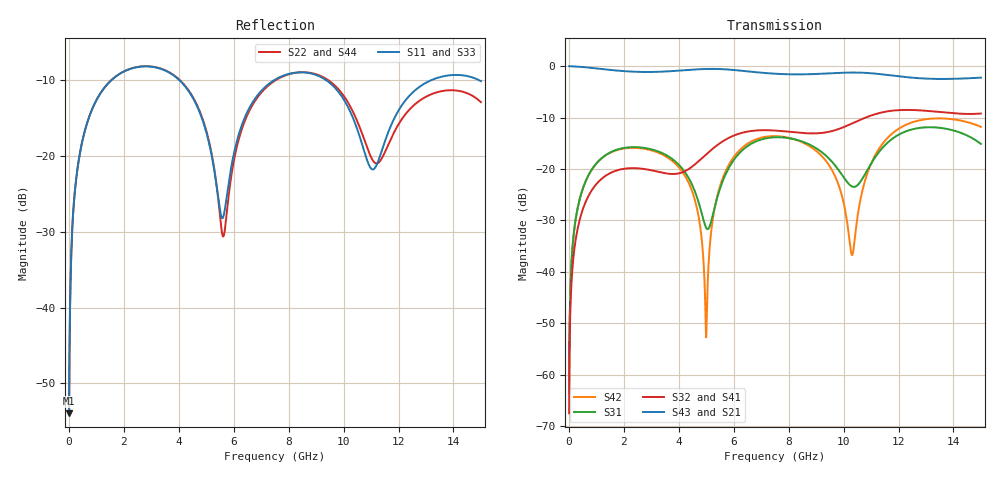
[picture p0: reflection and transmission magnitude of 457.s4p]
! Created with skrf 1.8.0 (http://scikit-rf.org).
# GHz S RI R 50.0
!freq ReS11 ImS11 ReS12 ImS12 ReS13 ImS13
! ReS14 ImS14
! ReS21 ImS21 ReS22 ImS22 ReS23 ImS23
! ReS24 ImS24
! ReS31 ImS31 ReS32 ImS32 ReS33 ImS33
! ReS34 ImS34
! ReS41 ImS41 ReS42 ImS42 ReS43 ImS43
! ReS44 ImS44
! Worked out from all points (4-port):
!   2499 points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, 5 MHz to 15 GHz, reference 50 ohm
!   strongest paths, dB at 5 MHz, 3.476 GHz, 7.19 GHz, 11.1 GHz, 15 GHz:
!     S43: 0.0, -1.1, -1.4, -1.4, -2.2
!     S21: 0.0, -1.1, -1.4, -1.4, -2.2
!     S32: -67.5, -20.8, -12.5, -9.4, -9.2
!     S41: -67.5, -20.9, -12.5, -9.4, -9.3
!     S31: -63.4, -17.1, -14.0, -18.1, -15.1
!     S42: -63.4, -17.4, -13.7, -17.9, -11.8
!   lowest |S11| = -53.9 dB at 5 MHz (marker M1), VSWR 1.00, Z = 50.2 + j0.122 ohm
!   |S11| at or under -10 dB: start of sweep to 1.541 GHz; 4.026 GHz to 7.466 GHz (3.44 GHz wide, 59.9 % of centre); 9.371 GHz to 13.18 GHz (3.814 GHz wide, 33.8 % of centre) (the widest 3 of 4)
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0.005  0.0016 0.00121  0.9984 -0.00312  8.15e-05 0.000668  -7.9e-05 -0.000413
       0.9984 -0.00312  0.0016 0.00121  -7.9e-05 -0.000413  8.15e-05 0.000668
       8.15e-05 0.000668  -7.9e-05 -0.000413  0.0016 0.00121  0.9984 -0.00312
       -7.9e-05 -0.000413  8.15e-05 0.000668  0.9984 -0.00312  0.0016 0.00121
1.519383  0.2554 0.182  0.5779 -0.7117  0.1298 0.0661  -0.0909 -0.0111
          0.5779 -0.7117  0.2565 0.1813  -0.091 -0.011  0.126 0.0708
          0.1298 0.0661  -0.091 -0.011  0.2553 0.182  0.5779 -0.7117
          -0.0909 -0.0111  0.126 0.0708  0.5779 -0.7117  0.2566 0.1813
4.995832  0.0782 -0.1218  -0.8532 -0.3887  -0.0236 -0.0126  -0.0541 0.1276
          -0.8532 -0.3887  0.0718 -0.1294  -0.0526 0.1282  0.0022 0.000673
          -0.0236 -0.0126  -0.0526 0.1282  0.0776 -0.1229  -0.8531 -0.3887
          -0.0541 0.1276  0.0022 0.000673  -0.8531 -0.3887  0.0732 -0.1297
5.933722  0.0596 0.0668  -0.9118 0.1221  0.0274 0.1117  0.0403 0.203
          -0.9118 0.1221  0.0478 0.0624  0.0425 0.2029  0.0524 0.1111
          0.0274 0.1117  0.0425 0.2029  0.0572 0.0658  -0.9119 0.122
          0.0403 0.203  0.0524 0.1111  -0.9119 0.122  0.0499 0.0613
8.772405  0.3475 -0.0559  0.0352 0.833  0.1417 -0.0973  0.2075 -0.071
          0.0352 0.833  0.3512 -0.048  0.208 -0.0768  0.1456 -0.0791
          0.1417 -0.0973  0.208 -0.0768  0.3454 -0.05  0.036 0.8335
          0.2075 -0.071  0.1456 -0.0791  0.036 0.8335  0.3503 -0.0541
10.31055  0.1358 -0.1246  0.6717 0.5459  -0.0569 -0.0363  0.1724 -0.2167
          0.6717 0.5459  0.1491 -0.1352  0.1655 -0.2219  -0.0139 -0.00408
          -0.0569 -0.0363  0.1655 -0.2219  0.1394 -0.1187  0.6731 0.5448
          0.1724 -0.2167  -0.0139 -0.00408  0.6731 0.5448  0.1426 -0.1378
15  0.2741 -0.1496  -0.1764 -0.7526  0.1678 -0.0508  -0.3139 0.1374
    -0.1764 -0.7526  0.2062 -0.0946  -0.3109 0.1513  0.1275 -0.2228
    0.1678 -0.0508  -0.3109 0.1513  0.2744 -0.1454  -0.1785 -0.7513
    -0.3139 0.1374  0.1275 -0.2228  -0.1785 -0.7513  0.2089 -0.1043
